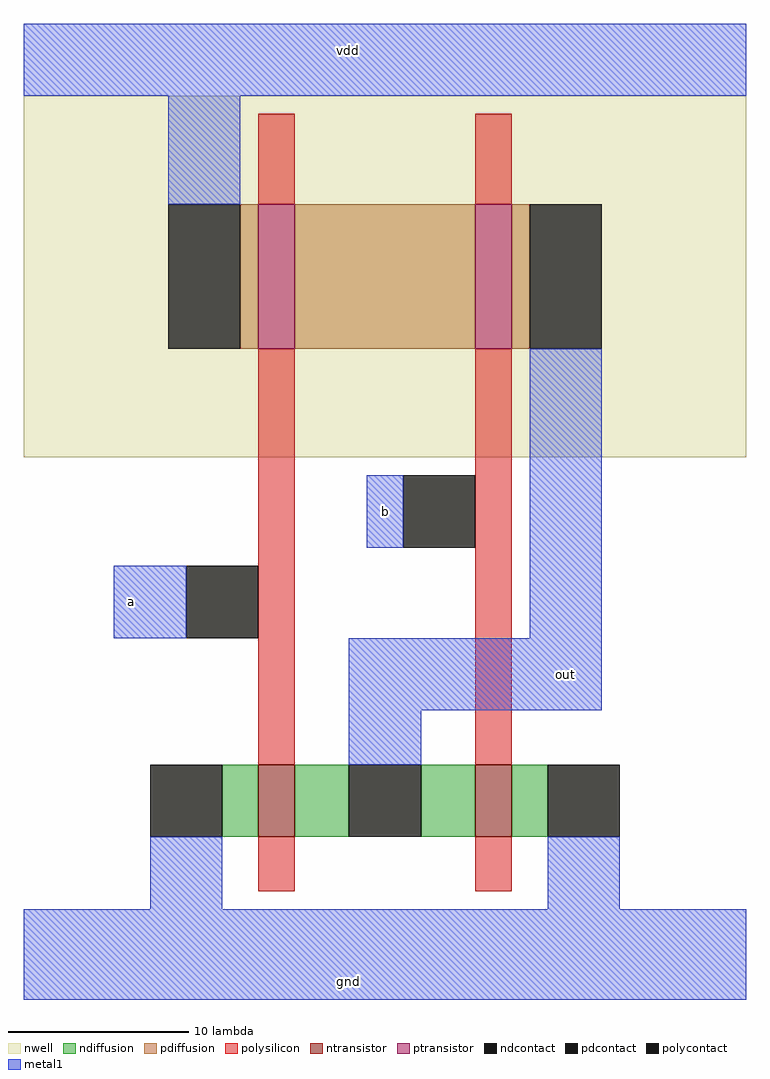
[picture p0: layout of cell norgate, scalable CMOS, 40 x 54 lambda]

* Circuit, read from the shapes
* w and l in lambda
.subckt norgate a b gnd out vdd
M1 out a gnd VSUBS nfet w=4 l=2
M2 gnd b out VSUBS nfet w=4 l=2
M3 n1 a vdd n2 pfet w=8 l=2
M4 out b n1 n2 pfet w=8 l=2
.ends

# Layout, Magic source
magic
tech scmos
<< nwell >>
rect 0 30 40 50
<< ntransistor >>
rect 13 9 15 13
rect 25 9 27 13
<< ptransistor >>
rect 13 36 15 44
rect 25 36 27 44
<< ndiffusion >>
rect 11 9 13 13
rect 15 9 18 13
rect 22 9 25 13
rect 27 9 29 13
<< pdiffusion >>
rect 12 36 13 44
rect 15 36 25 44
rect 27 36 28 44
<< ndcontact >>
rect 7 9 11 13
rect 18 9 22 13
rect 29 9 33 13
<< pdcontact >>
rect 8 36 12 44
rect 28 36 32 44
<< polysilicon >>
rect 13 44 15 49
rect 25 44 27 49
rect 13 13 15 36
rect 25 13 27 36
rect 13 6 15 9
rect 25 6 27 9
<< polycontact >>
rect 9 20 13 24
rect 21 25 25 29
<< metal1 >>
rect 0 50 40 54
rect 8 44 12 50
rect 19 25 21 29
rect 5 20 9 24
rect 28 20 32 36
rect 18 16 32 20
rect 18 13 22 16
rect 7 5 11 9
rect 29 5 33 9
rect 0 0 40 5
<< labels >>
rlabel metal1 5 20 7 24 1 a
rlabel metal1 15 52 21 53 5 vdd
rlabel metal1 15 0 21 2 1 gnd
rlabel metal1 19 25 21 29 1 b
rlabel metal1 28 16 32 20 1 out
<< end >>
